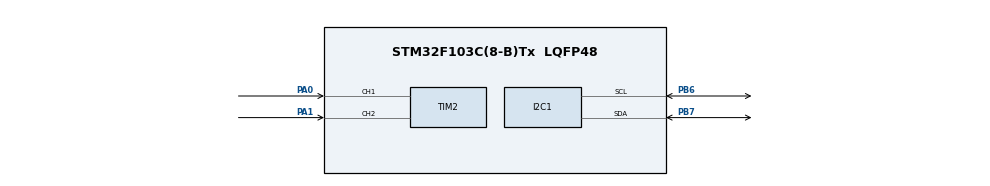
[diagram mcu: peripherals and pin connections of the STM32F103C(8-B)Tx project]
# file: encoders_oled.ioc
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I2C1.I2C_Mode=I2C_Fast
Mcu.Family=STM32F1
Mcu.Name=STM32F103C(8-B)Tx
Mcu.Package=LQFP48
NVIC.PriorityGroup=NVIC_PRIORITYGROUP_4
PA0-WKUP.Signal=S_TIM2_CH1_ETR
PA1.Signal=S_TIM2_CH2
PA13.Mode=Serial_Wire
PA13.Signal=SYS_JTMS-SWDIO
PA14.Mode=Serial_Wire
PA14.Signal=SYS_JTCK-SWCLK
PB6.Mode=I2C
PB6.Signal=I2C1_SCL
PB7.Mode=I2C
PB7.Signal=I2C1_SDA
ProjectManager.HeapSize=0x200
ProjectManager.StackSize=0x400
ProjectManager.TargetToolchain=STM32CubeIDE
RCC.APB1Freq_Value=8000000
RCC.APB2Freq_Value=8000000
SH.S_TIM2_CH1_ETR.0=TIM2_CH1,Encoder_Interface
SH.S_TIM2_CH2.0=TIM2_CH2,Encoder_Interface
TIM2.EncoderMode=TIM_ENCODERMODE_TI12
TIM2.IC1Filter=5
TIM2.IC2Filter=5
board=custom

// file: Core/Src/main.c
/* USER CODE BEGIN Header */
/**
  ******************************************************************************
  * @file           : main.c
  * @brief          : Main program body
  ******************************************************************************
  * @attention
  *
  * Copyright (c) 2025 STMicroelectronics.
  * All rights reserved.
  *
  * This software is licensed under terms that can be found in the LICENSE file
  * in the root directory of this software component.
  * If no LICENSE file comes with this software, it is provided AS-IS.
  *
  ******************************************************************************
  */
/* USER CODE END Header */
#include "main.h"

/* USER CODE BEGIN Includes */
#include <stdio.h>
#include "fonts.h"
#include "ssd1306.h"
/* USER CODE END Includes */

I2C_HandleTypeDef hi2c1;

TIM_HandleTypeDef htim2;

void SystemClock_Config(void);
static void MX_GPIO_Init(void);
static void MX_I2C1_Init(void);
static void MX_TIM2_Init(void);

int main(void)
{

  /* MCU Configuration--------------------------------------------------------*/

  /* Reset of all peripherals, Initializes the Flash interface and the Systick. */
  HAL_Init();

  /* Configure the system clock */
  SystemClock_Config();

  /* Initialize all configured peripherals */
  MX_GPIO_Init();
  MX_I2C1_Init();
  MX_TIM2_Init();
  /* USER CODE BEGIN 2 */
  int counterValue=0;
  SSD1306_Init();
    char snum[5];

    SSD1306_GotoXY (0,0);
    SSD1306_Puts ("Imanchana", &Font_11x18, 1);
    SSD1306_GotoXY (0, 30);
    SSD1306_Puts ("Kaveeshwara", &Font_11x18, 1);
    SSD1306_UpdateScreen();
    HAL_Delay (1000);

    SSD1306_ScrollRight(0,7);
    HAL_Delay(3000);
    SSD1306_ScrollLeft(0,7);
    HAL_Delay(3000);
    SSD1306_Stopscroll();
    SSD1306_Clear();

    HAL_TIM_Encoder_Start(&htim2,TIM_CHANNEL_ALL);

  /* USER CODE END 2 */

  /* Infinite loop */
  /* USER CODE BEGIN WHILE */
  while (1)
  {
	  counterValue = TIM2->CNT;
	  itoa(counterValue, snum, 10);
	  SSD1306_GotoXY (37, 30);
	  SSD1306_Puts (snum, &Font_16x26, 1);
	  SSD1306_UpdateScreen();
	  HAL_Delay (500);
	  //SSD1306_Clear();
    /* USER CODE END WHILE */

  }
}

void SystemClock_Config(void)
{
  RCC_OscInitTypeDef RCC_OscInitStruct = {0};
  RCC_ClkInitTypeDef RCC_ClkInitStruct = {0};

  /** Initializes the RCC Oscillators according to the specified parameters
  * in the RCC_OscInitTypeDef structure.
  */
  RCC_OscInitStruct.OscillatorType = RCC_OSCILLATORTYPE_HSI;
  RCC_OscInitStruct.HSIState = RCC_HSI_ON;
  RCC_OscInitStruct.HSICalibrationValue = RCC_HSICALIBRATION_DEFAULT;
  RCC_OscInitStruct.PLL.PLLState = RCC_PLL_NONE;
  if (HAL_RCC_OscConfig(&RCC_OscInitStruct) != HAL_OK)
  {
    Error_Handler();
  }

  /** Initializes the CPU, AHB and APB buses clocks
  */
  RCC_ClkInitStruct.ClockType = RCC_CLOCKTYPE_HCLK|RCC_CLOCKTYPE_SYSCLK
                              |RCC_CLOCKTYPE_PCLK1|RCC_CLOCKTYPE_PCLK2;
  RCC_ClkInitStruct.SYSCLKSource = RCC_SYSCLKSOURCE_HSI;
  RCC_ClkInitStruct.AHBCLKDivider = RCC_SYSCLK_DIV1;
  RCC_ClkInitStruct.APB1CLKDivider = RCC_HCLK_DIV1;
  RCC_ClkInitStruct.APB2CLKDivider = RCC_HCLK_DIV1;

  if (HAL_RCC_ClockConfig(&RCC_ClkInitStruct, FLASH_LATENCY_0) != HAL_OK)
  {
    Error_Handler();
  }
}

static void MX_I2C1_Init(void)
{

  hi2c1.Instance = I2C1;
  hi2c1.Init.ClockSpeed = 400000;
  hi2c1.Init.DutyCycle = I2C_DUTYCYCLE_2;
  hi2c1.Init.OwnAddress1 = 0;
  hi2c1.Init.AddressingMode = I2C_ADDRESSINGMODE_7BIT;
  hi2c1.Init.DualAddressMode = I2C_DUALADDRESS_DISABLE;
  hi2c1.Init.OwnAddress2 = 0;
  hi2c1.Init.GeneralCallMode = I2C_GENERALCALL_DISABLE;
  hi2c1.Init.NoStretchMode = I2C_NOSTRETCH_DISABLE;
  if (HAL_I2C_Init(&hi2c1) != HAL_OK)
  {
    Error_Handler();
  }

}

static void MX_TIM2_Init(void)
{

  TIM_Encoder_InitTypeDef sConfig = {0};
  TIM_MasterConfigTypeDef sMasterConfig = {0};

  htim2.Instance = TIM2;
  htim2.Init.Prescaler = 0;
  htim2.Init.CounterMode = TIM_COUNTERMODE_UP;
  htim2.Init.Period = 65535;
  htim2.Init.ClockDivision = TIM_CLOCKDIVISION_DIV1;
  htim2.Init.AutoReloadPreload = TIM_AUTORELOAD_PRELOAD_DISABLE;
  sConfig.EncoderMode = TIM_ENCODERMODE_TI12;
  sConfig.IC1Polarity = TIM_ICPOLARITY_RISING;
  sConfig.IC1Selection = TIM_ICSELECTION_DIRECTTI;
  sConfig.IC1Prescaler = TIM_ICPSC_DIV1;
  sConfig.IC1Filter = 5;
  sConfig.IC2Polarity = TIM_ICPOLARITY_RISING;
  sConfig.IC2Selection = TIM_ICSELECTION_DIRECTTI;
  sConfig.IC2Prescaler = TIM_ICPSC_DIV1;
  sConfig.IC2Filter = 0;
  if (HAL_TIM_Encoder_Init(&htim2, &sConfig) != HAL_OK)
  {
    Error_Handler();
  }
  sMasterConfig.MasterOutputTrigger = TIM_TRGO_RESET;
  sMasterConfig.MasterSlaveMode = TIM_MASTERSLAVEMODE_DISABLE;
  if (HAL_TIMEx_MasterConfigSynchronization(&htim2, &sMasterConfig) != HAL_OK)
  {
    Error_Handler();
  }

}

static void MX_GPIO_Init(void)
{

  /* GPIO Ports Clock Enable */
  __HAL_RCC_GPIOA_CLK_ENABLE();
  __HAL_RCC_GPIOB_CLK_ENABLE();

}

void Error_Handler(void)
{
  __disable_irq();
  while (1)
  {
  }
}
